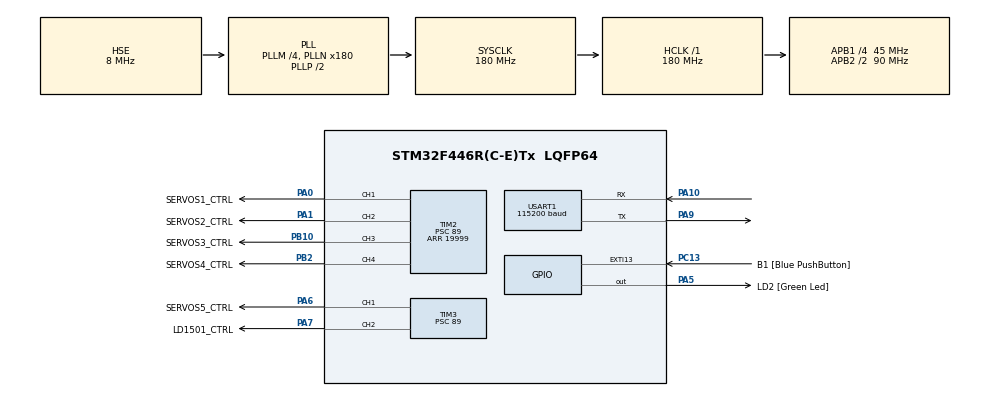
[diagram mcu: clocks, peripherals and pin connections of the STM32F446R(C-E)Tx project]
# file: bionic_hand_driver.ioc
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FREERTOS.BinarySemaphores01=uartRxSemaphore,Dynamic,NULL,Available
FREERTOS.Queues01=servoAnglesQueue,1,ServoAngles_t,0,Dynamic,NULL,NULL
FREERTOS.Tasks01=uartReceiveTask,24,256,StartUartReceiveTask,Default,NULL,Dynamic,NULL,NULL;servoControlTas,40,256,StartServoControlTask,Default,NULL,Dynamic,NULL,NULL
FREERTOS.configUSE_NEWLIB_REENTRANT=1
Mcu.Family=STM32F4
Mcu.Name=STM32F446R(C-E)Tx
Mcu.Package=LQFP64
NVIC.EXTI15_10_IRQn=true\:5\:0\:false\:false\:true\:true\:true\:true\:true
NVIC.PriorityGroup=NVIC_PRIORITYGROUP_4
NVIC.TIM1_UP_TIM10_IRQn=true\:15\:0\:false\:false\:true\:false\:false\:true\:true
NVIC.TimeBase=TIM1_UP_TIM10_IRQn
NVIC.TimeBaseIP=TIM1
NVIC.USART1_IRQn=true\:5\:0\:false\:false\:true\:true\:true\:true\:true
PA0-WKUP.GPIO_Label=SERVOS1_CTRL
PA0-WKUP.Signal=S_TIM2_CH1_ETR
PA1.GPIO_Label=SERVOS2_CTRL
PA1.Signal=S_TIM2_CH2
PA10.Mode=Asynchronous
PA10.Signal=USART1_RX
PA13.GPIO_Label=TMS
PA13.Mode=Trace_Asynchronous_SW
PA13.Signal=SYS_JTMS-SWDIO
PA14.GPIO_Label=TCK
PA14.Mode=Trace_Asynchronous_SW
PA14.Signal=SYS_JTCK-SWCLK
PA2.GPIO_Label=USART_TX
PA2.Signal=USART2_TX
PA3.GPIO_Label=USART_RX
PA3.Signal=USART2_RX
PA5.GPIO_Label=LD2 [Green Led]
PA5.Signal=GPIO_Output
PA6.GPIO_Label=SERVOS5_CTRL
PA6.Signal=S_TIM3_CH1
PA7.GPIO_Label=LD1501_CTRL
PA7.Signal=S_TIM3_CH2
PA9.Mode=Asynchronous
PA9.Signal=USART1_TX
PB10.GPIO_Label=SERVOS3_CTRL
PB10.Signal=S_TIM2_CH3
PB2.GPIO_Label=SERVOS4_CTRL
PB2.Signal=S_TIM2_CH4
PB3.GPIO_Label=SWO
PB3.Mode=Trace_Asynchronous_SW
PB3.Signal=SYS_JTDO-SWO
PC13.GPIO_Label=B1 [Blue PushButton]
PC13.GPIO_ModeDefaultEXTI=GPIO_MODE_IT_FALLING
PC13.Signal=GPXTI13
PC14-OSC32_IN.Mode=LSE-External-Oscillator
PC14-OSC32_IN.Signal=RCC_OSC32_IN
PC15-OSC32_OUT.Mode=LSE-External-Oscillator
PC15-OSC32_OUT.Signal=RCC_OSC32_OUT
PH0-OSC_IN.Mode=HSE-External-Oscillator
PH0-OSC_IN.Signal=RCC_OSC_IN
PH1-OSC_OUT.Mode=HSE-External-Oscillator
PH1-OSC_OUT.Signal=RCC_OSC_OUT
ProjectManager.HeapSize=0x200
ProjectManager.StackSize=0x400
ProjectManager.TargetToolchain=STM32CubeIDE
RCC.48MHZClocksFreq_Value=84000000
RCC.AHBFreq_Value=180000000
RCC.APB1CLKDivider=RCC_HCLK_DIV4
RCC.APB1Freq_Value=45000000
RCC.APB1TimFreq_Value=90000000
RCC.APB2CLKDivider=RCC_HCLK_DIV2
RCC.APB2Freq_Value=90000000
RCC.APB2TimFreq_Value=180000000
RCC.CortexFreq_Value=180000000
RCC.FLatency-AdvancedSettings=FLASH_LATENCY_5
RCC.HCLKFreq_Value=180000000
RCC.HSE_VALUE=8000000
RCC.HSI_VALUE=16000000
RCC.PLLM=4
RCC.PLLN=180
RCC.PLLSourceVirtual=RCC_PLLSOURCE_HSE
RCC.SYSCLKFreq_VALUE=180000000
RCC.SYSCLKSource=RCC_SYSCLKSOURCE_PLLCLK
RCC.USBFreq_Value=180000000
RCC.VCOOutputFreq_Value=360000000
SH.S_TIM2_CH1_ETR.0=TIM2_CH1,PWM Generation1 CH1
SH.S_TIM2_CH2.0=TIM2_CH2,PWM Generation2 CH2
SH.S_TIM2_CH3.0=TIM2_CH3,PWM Generation3 CH3
SH.S_TIM2_CH4.0=TIM2_CH4,PWM Generation4 CH4
SH.S_TIM3_CH1.0=TIM3_CH1,PWM Generation1 CH1
SH.S_TIM3_CH2.0=TIM3_CH2,PWM Generation2 CH2
TIM2.AutoReloadPreload=TIM_AUTORELOAD_PRELOAD_ENABLE
TIM2.Channel-PWM\ Generation1\ CH1=TIM_CHANNEL_1
TIM2.Channel-PWM\ Generation2\ CH2=TIM_CHANNEL_2
TIM2.Channel-PWM\ Generation3\ CH3=TIM_CHANNEL_3
TIM2.Channel-PWM\ Generation4\ CH4=TIM_CHANNEL_4
TIM2.Period=19999
TIM2.Prescaler=89
TIM2.Pulse-PWM\ Generation1\ CH1=1500
TIM2.Pulse-PWM\ Generation2\ CH2=1500
TIM2.Pulse-PWM\ Generation3\ CH3=1500
TIM2.Pulse-PWM\ Generation4\ CH4=1500
TIM3.AutoReloadPreload=TIM_AUTORELOAD_PRELOAD_ENABLE
TIM3.Channel-PWM\ Generation1\ CH1=TIM_CHANNEL_1
TIM3.Channel-PWM\ Generation2\ CH2=TIM_CHANNEL_2
TIM3.Period=19999
TIM3.Prescaler=89
TIM3.Pulse-PWM\ Generation1\ CH1=1500
TIM3.Pulse-PWM\ Generation2\ CH2=1500
USART1.BaudRate=115200
USART1.VirtualMode=VM_ASYNC
VP_FREERTOS_VS_CMSIS_V2.Mode=CMSIS_V2
VP_SYS_VS_tim1.Mode=TIM1
board=NUCLEO-F446RE

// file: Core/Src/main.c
/* USER CODE BEGIN Header */
/**
  ******************************************************************************
  * @file           : main.c
  * @brief          : Main program body
  ******************************************************************************
  * @attention
  *
  * Copyright (c) 2025 STMicroelectronics.
  * All rights reserved.
  *
  * This software is licensed under terms that can be found in the LICENSE file
  * in the root directory of this software component.
  * If no LICENSE file comes with this software, it is provided AS-IS.
  *
  ******************************************************************************
  */
/* USER CODE END Header */
#include "main.h"
#include "cmsis_os.h"

/* USER CODE BEGIN Includes */
#include <stdio.h>
/* USER CODE END Includes */

/* USER CODE BEGIN PD */
#define RX_BUFFER_SIZE 64

/* USER CODE END PD */

TIM_HandleTypeDef htim2;
TIM_HandleTypeDef htim3;

UART_HandleTypeDef huart1;

/* Definitions for uartReceiveTask */
osThreadId_t uartReceiveTaskHandle;
const osThreadAttr_t uartReceiveTask_attributes = {
  .name = "uartReceiveTask",
  .stack_size = 256 * 4,
  .priority = (osPriority_t) osPriorityNormal,
};
/* Definitions for servoControlTas */
osThreadId_t servoControlTasHandle;
const osThreadAttr_t servoControlTas_attributes = {
  .name = "servoControlTas",
  .stack_size = 256 * 4,
  .priority = (osPriority_t) osPriorityHigh,
};
/* Definitions for servoAnglesQueue */
osMessageQueueId_t servoAnglesQueueHandle;
const osMessageQueueAttr_t servoAnglesQueue_attributes = {
  .name = "servoAnglesQueue"
};
/* Definitions for uartRxSemaphore */
osSemaphoreId_t uartRxSemaphoreHandle;
const osSemaphoreAttr_t uartRxSemaphore_attributes = {
  .name = "uartRxSemaphore"
};
/* USER CODE BEGIN PV */
volatile uint8_t motor_enabled = 0;
uint8_t received_byte;
uint8_t rx_buffer[RX_BUFFER_SIZE];
volatile uint8_t data_ready = 0;
/* USER CODE END PV */

void SystemClock_Config(void);
static void MX_GPIO_Init(void);
static void MX_TIM2_Init(void);
static void MX_TIM3_Init(void);
static void MX_USART1_UART_Init(void);
void StartUartReceiveTask(void *argument);
void StartServoControlTask(void *argument);

/* USER CODE BEGIN PFP */
int map_angle_to_pulse(int angle);
/* USER CODE END PFP */

/* USER CODE BEGIN 0 */
int _write(int file, char *ptr, int len)
{
  int DataIdx;
  for (DataIdx = 0; DataIdx < len; DataIdx++)
  {
    ITM_SendChar(*ptr++);
  }
  return len;
}
/* USER CODE END 0 */

int main(void)
{

  /* MCU Configuration--------------------------------------------------------*/

  /* Reset of all peripherals, Initializes the Flash interface and the Systick. */
  HAL_Init();

  /* Configure the system clock */
  SystemClock_Config();

  /* Initialize all configured peripherals */
  MX_GPIO_Init();
  MX_TIM2_Init();
  MX_TIM3_Init();
  MX_USART1_UART_Init();
  /* USER CODE BEGIN 2 */
	printf("Starting polling echo test...\n");
	HAL_UART_Receive_IT(&huart1, &received_byte, 1);
	HAL_TIM_PWM_Start(&htim2, TIM_CHANNEL_1);
	HAL_TIM_PWM_Start(&htim2, TIM_CHANNEL_2);
	HAL_TIM_PWM_Start(&htim2, TIM_CHANNEL_3);
	HAL_TIM_PWM_Start(&htim2, TIM_CHANNEL_4);
	HAL_TIM_PWM_Start(&htim3, TIM_CHANNEL_1);
	HAL_TIM_PWM_Start(&htim3, TIM_CHANNEL_2);
  /* USER CODE END 2 */

  /* Init scheduler */
  osKernelInitialize();

  /* Create the semaphores(s) */
  /* creation of uartRxSemaphore */
  uartRxSemaphoreHandle = osSemaphoreNew(1, 1, &uartRxSemaphore_attributes);

  /* Create the queue(s) */
  /* creation of servoAnglesQueue */
  servoAnglesQueueHandle = osMessageQueueNew (1, sizeof(ServoAngles_t), &servoAnglesQueue_attributes);

  /* Create the thread(s) */
  /* creation of uartReceiveTask */
  uartReceiveTaskHandle = osThreadNew(StartUartReceiveTask, NULL, &uartReceiveTask_attributes);

  /* creation of servoControlTas */
  servoControlTasHandle = osThreadNew(StartServoControlTask, NULL, &servoControlTas_attributes);

  /* Start scheduler */
  osKernelStart();

  /* We should never get here as control is now taken by the scheduler */

  /* Infinite loop */
  /* USER CODE BEGIN WHILE */
  while (1)
  {
	  if (data_ready == 1)
	  {
		  data_ready = 0;

		  int angles[6];
		  int checksum_received;

		  int parse_count = sscanf((char*)rx_buffer, "%d,%d,%d,%d,%d,%d,%d",
								   &angles[0], &angles[1], &angles[2],
								   &angles[3], &angles[4], &angles[5],
								   &checksum_received);

		  if (parse_count == 7)
		  {
			  printf("Set of Angles Received: %d,%d,%d,%d,%d,%d,%d\n", angles[0], angles[1], angles[2], angles[3], angles[4], angles[5], checksum_received);
			  int checksum_calculated = 0;
			  for (int i = 0; i < 6; i++) {
				  checksum_calculated ^= angles[i];
			  }

			  if (checksum_calculated == checksum_received)
			  {
				  printf("OK -> Angles: %d,%d,%d,%d,%d,%d\n", angles[0], angles[1], angles[2], angles[3], angles[4], angles[5]);

				  __HAL_TIM_SET_COMPARE(&htim2, TIM_CHANNEL_1, map_angle_to_pulse(angles[0]));
				  __HAL_TIM_SET_COMPARE(&htim2, TIM_CHANNEL_2, map_angle_to_pulse(angles[1]));
				  __HAL_TIM_SET_COMPARE(&htim2, TIM_CHANNEL_3, map_angle_to_pulse(angles[2]));
				  __HAL_TIM_SET_COMPARE(&htim2, TIM_CHANNEL_4, map_angle_to_pulse(angles[3]));
				  __HAL_TIM_SET_COMPARE(&htim3, TIM_CHANNEL_1, map_angle_to_pulse(angles[4]));
				  __HAL_TIM_SET_COMPARE(&htim3, TIM_CHANNEL_2, map_angle_to_pulse(angles[5]));
			  }
			  else {
				   printf("Error: Checksum mismatch!\n");
			  }
		  }
		  else {
			  printf("Error: Format mismatch! Parsed %d values.\n", parse_count);
		  }
	  }
    /* USER CODE END WHILE */

  }
}

void SystemClock_Config(void)
{
  RCC_OscInitTypeDef RCC_OscInitStruct = {0};
  RCC_ClkInitTypeDef RCC_ClkInitStruct = {0};

  /** Configure the main internal regulator output voltage
  */
  __HAL_RCC_PWR_CLK_ENABLE();
  __HAL_PWR_VOLTAGESCALING_CONFIG(PWR_REGULATOR_VOLTAGE_SCALE1);

  /** Initializes the RCC Oscillators according to the specified parameters
  * in the RCC_OscInitTypeDef structure.
  */
  RCC_OscInitStruct.OscillatorType = RCC_OSCILLATORTYPE_HSE;
  RCC_OscInitStruct.HSEState = RCC_HSE_ON;
  RCC_OscInitStruct.PLL.PLLState = RCC_PLL_ON;
  RCC_OscInitStruct.PLL.PLLSource = RCC_PLLSOURCE_HSE;
  RCC_OscInitStruct.PLL.PLLM = 4;
  RCC_OscInitStruct.PLL.PLLN = 180;
  RCC_OscInitStruct.PLL.PLLP = RCC_PLLP_DIV2;
  RCC_OscInitStruct.PLL.PLLQ = 2;
  RCC_OscInitStruct.PLL.PLLR = 2;
  if (HAL_RCC_OscConfig(&RCC_OscInitStruct) != HAL_OK)
  {
    Error_Handler();
  }

  /** Activate the Over-Drive mode
  */
  if (HAL_PWREx_EnableOverDrive() != HAL_OK)
  {
    Error_Handler();
  }

  /** Initializes the CPU, AHB and APB buses clocks
  */
  RCC_ClkInitStruct.ClockType = RCC_CLOCKTYPE_HCLK|RCC_CLOCKTYPE_SYSCLK
                              |RCC_CLOCKTYPE_PCLK1|RCC_CLOCKTYPE_PCLK2;
  RCC_ClkInitStruct.SYSCLKSource = RCC_SYSCLKSOURCE_PLLCLK;
  RCC_ClkInitStruct.AHBCLKDivider = RCC_SYSCLK_DIV1;
  RCC_ClkInitStruct.APB1CLKDivider = RCC_HCLK_DIV4;
  RCC_ClkInitStruct.APB2CLKDivider = RCC_HCLK_DIV2;

  if (HAL_RCC_ClockConfig(&RCC_ClkInitStruct, FLASH_LATENCY_5) != HAL_OK)
  {
    Error_Handler();
  }
}

static void MX_TIM2_Init(void)
{

  TIM_MasterConfigTypeDef sMasterConfig = {0};
  TIM_OC_InitTypeDef sConfigOC = {0};

  htim2.Instance = TIM2;
  htim2.Init.Prescaler = 89;
  htim2.Init.CounterMode = TIM_COUNTERMODE_UP;
  htim2.Init.Period = 19999;
  htim2.Init.ClockDivision = TIM_CLOCKDIVISION_DIV1;
  htim2.Init.AutoReloadPreload = TIM_AUTORELOAD_PRELOAD_ENABLE;
  if (HAL_TIM_PWM_Init(&htim2) != HAL_OK)
  {
    Error_Handler();
  }
  sMasterConfig.MasterOutputTrigger = TIM_TRGO_RESET;
  sMasterConfig.MasterSlaveMode = TIM_MASTERSLAVEMODE_DISABLE;
  if (HAL_TIMEx_MasterConfigSynchronization(&htim2, &sMasterConfig) != HAL_OK)
  {
    Error_Handler();
  }
  sConfigOC.OCMode = TIM_OCMODE_PWM1;
  sConfigOC.Pulse = 1500;
  sConfigOC.OCPolarity = TIM_OCPOLARITY_HIGH;
  sConfigOC.OCFastMode = TIM_OCFAST_DISABLE;
  if (HAL_TIM_PWM_ConfigChannel(&htim2, &sConfigOC, TIM_CHANNEL_1) != HAL_OK)
  {
    Error_Handler();
  }
  if (HAL_TIM_PWM_ConfigChannel(&htim2, &sConfigOC, TIM_CHANNEL_2) != HAL_OK)
  {
    Error_Handler();
  }
  if (HAL_TIM_PWM_ConfigChannel(&htim2, &sConfigOC, TIM_CHANNEL_3) != HAL_OK)
  {
    Error_Handler();
  }
  if (HAL_TIM_PWM_ConfigChannel(&htim2, &sConfigOC, TIM_CHANNEL_4) != HAL_OK)
  {
    Error_Handler();
  }
  HAL_TIM_MspPostInit(&htim2);

}

static void MX_TIM3_Init(void)
{

  TIM_MasterConfigTypeDef sMasterConfig = {0};
  TIM_OC_InitTypeDef sConfigOC = {0};

  htim3.Instance = TIM3;
  htim3.Init.Prescaler = 89;
  htim3.Init.CounterMode = TIM_COUNTERMODE_UP;
  htim3.Init.Period = 19999;
  htim3.Init.ClockDivision = TIM_CLOCKDIVISION_DIV1;
  htim3.Init.AutoReloadPreload = TIM_AUTORELOAD_PRELOAD_ENABLE;
  if (HAL_TIM_PWM_Init(&htim3) != HAL_OK)
  {
    Error_Handler();
  }
  sMasterConfig.MasterOutputTrigger = TIM_TRGO_RESET;
  sMasterConfig.MasterSlaveMode = TIM_MASTERSLAVEMODE_DISABLE;
  if (HAL_TIMEx_MasterConfigSynchronization(&htim3, &sMasterConfig) != HAL_OK)
  {
    Error_Handler();
  }
  sConfigOC.OCMode = TIM_OCMODE_PWM1;
  sConfigOC.Pulse = 1500;
  sConfigOC.OCPolarity = TIM_OCPOLARITY_HIGH;
  sConfigOC.OCFastMode = TIM_OCFAST_DISABLE;
  if (HAL_TIM_PWM_ConfigChannel(&htim3, &sConfigOC, TIM_CHANNEL_1) != HAL_OK)
  {
    Error_Handler();
  }
  if (HAL_TIM_PWM_ConfigChannel(&htim3, &sConfigOC, TIM_CHANNEL_2) != HAL_OK)
  {
    Error_Handler();
  }
  HAL_TIM_MspPostInit(&htim3);

}

static void MX_USART1_UART_Init(void)
{

  huart1.Instance = USART1;
  huart1.Init.BaudRate = 115200;
  huart1.Init.WordLength = UART_WORDLENGTH_8B;
  huart1.Init.StopBits = UART_STOPBITS_1;
  huart1.Init.Parity = UART_PARITY_NONE;
  huart1.Init.Mode = UART_MODE_TX_RX;
  huart1.Init.HwFlowCtl = UART_HWCONTROL_NONE;
  huart1.Init.OverSampling = UART_OVERSAMPLING_16;
  if (HAL_UART_Init(&huart1) != HAL_OK)
  {
    Error_Handler();
  }

}

static void MX_GPIO_Init(void)
{
  GPIO_InitTypeDef GPIO_InitStruct = {0};

  /* GPIO Ports Clock Enable */
  __HAL_RCC_GPIOC_CLK_ENABLE();
  __HAL_RCC_GPIOH_CLK_ENABLE();
  __HAL_RCC_GPIOA_CLK_ENABLE();
  __HAL_RCC_GPIOB_CLK_ENABLE();

  /*Configure GPIO pin Output Level */
  HAL_GPIO_WritePin(LD2_GPIO_Port, LD2_Pin, GPIO_PIN_RESET);

  /*Configure GPIO pin : B1_Pin */
  GPIO_InitStruct.Pin = B1_Pin;
  GPIO_InitStruct.Mode = GPIO_MODE_IT_FALLING;
  GPIO_InitStruct.Pull = GPIO_NOPULL;
  HAL_GPIO_Init(B1_GPIO_Port, &GPIO_InitStruct);

  /*Configure GPIO pins : USART_TX_Pin USART_RX_Pin */
  GPIO_InitStruct.Pin = USART_TX_Pin|USART_RX_Pin;
  GPIO_InitStruct.Mode = GPIO_MODE_AF_PP;
  GPIO_InitStruct.Pull = GPIO_NOPULL;
  GPIO_InitStruct.Speed = GPIO_SPEED_FREQ_VERY_HIGH;
  GPIO_InitStruct.Alternate = GPIO_AF7_USART2;
  HAL_GPIO_Init(GPIOA, &GPIO_InitStruct);

  /*Configure GPIO pin : LD2_Pin */
  GPIO_InitStruct.Pin = LD2_Pin;
  GPIO_InitStruct.Mode = GPIO_MODE_OUTPUT_PP;
  GPIO_InitStruct.Pull = GPIO_NOPULL;
  GPIO_InitStruct.Speed = GPIO_SPEED_FREQ_LOW;
  HAL_GPIO_Init(LD2_GPIO_Port, &GPIO_InitStruct);

  /* EXTI interrupt init*/
  HAL_NVIC_SetPriority(EXTI15_10_IRQn, 5, 0);
  HAL_NVIC_EnableIRQ(EXTI15_10_IRQn);

}

/* USER CODE BEGIN 4 */

int map_angle_to_pulse(int angle)
{
    if (angle < 0) angle = 0;
    if (angle > 180) angle = 180;
    return 500 + (uint32_t)angle * (2500 - 500) / 180;
}

void HAL_UART_RxCpltCallback(UART_HandleTypeDef *huart)
{
    if (huart->Instance == USART1)
    {
    	static uint8_t is_receiving = 0;
    	static uint16_t rx_idx = 0;

		if (received_byte == '<' && is_receiving == 0)
		{

			rx_idx = 0;
			is_receiving = 1;
		}
		else if (is_receiving == 1)
		{
			if (received_byte == '>')
			{
				is_receiving = 0;
				data_ready = 1;
				rx_buffer[rx_idx] = '\0';

				osSemaphoreRelease(uartRxSemaphoreHandle);
			}
			else
			{
				if (rx_idx < RX_BUFFER_SIZE - 1)
				{
					rx_buffer[rx_idx++] = received_byte;
				}
				else
				{
					is_receiving = 0;
				}
			}
		}
		HAL_UART_Receive_IT(huart, &received_byte, 1);
    }
}
/* USER CODE END 4 */

void StartUartReceiveTask(void *argument)
{
  /* USER CODE BEGIN 5 */
  /* Infinite loop */
	  ServoAngles_t servo_cmd;

	  for(;;)
	  {
	    if (osSemaphoreAcquire(uartRxSemaphoreHandle, osWaitForever) == osOK)
	    {
	        int checksum_received;

	        int parse_count = sscanf((char*)rx_buffer, "%d,%d,%d,%d,%d,%d,%d",
	                                 &servo_cmd.angles[0], &servo_cmd.angles[1], &servo_cmd.angles[2],
	                                 &servo_cmd.angles[3], &servo_cmd.angles[4], &servo_cmd.angles[5],
	                                 &checksum_received);

	        if (parse_count == 7) {
	            int checksum_calculated = 0;
	            for (int i = 0; i < 6; i++) {
	                checksum_calculated ^= servo_cmd.angles[i];
	            }

	            if (checksum_calculated == checksum_received) {
	                osMessageQueuePut(servoAnglesQueueHandle, &servo_cmd, 0U, 0U);
	            } else {
	                printf("Error: Checksum mismatch!\n");
	            }
	        } else {
	            printf("Error: Format mismatch! Parsed %d values.\n", parse_count);
	        }
	    }
	  }
  /* USER CODE END 5 */
}

void StartServoControlTask(void *argument)
{
  /* USER CODE BEGIN StartServoControlTask */
  /* Infinite loop */
  ServoAngles_t received_cmd;
  for(;;)
  {
	  if (osMessageQueueGet(servoAnglesQueueHandle, &received_cmd, NULL, osWaitForever) == osOK)
	      {
	          __HAL_TIM_SET_COMPARE(&htim2, TIM_CHANNEL_1, map_angle_to_pulse(received_cmd.angles[0]));
	          __HAL_TIM_SET_COMPARE(&htim2, TIM_CHANNEL_2, map_angle_to_pulse(received_cmd.angles[1]));
	          __HAL_TIM_SET_COMPARE(&htim2, TIM_CHANNEL_3, map_angle_to_pulse(received_cmd.angles[2]));
	          __HAL_TIM_SET_COMPARE(&htim2, TIM_CHANNEL_4, map_angle_to_pulse(received_cmd.angles[3]));
	          __HAL_TIM_SET_COMPARE(&htim3, TIM_CHANNEL_1, map_angle_to_pulse(received_cmd.angles[4]));
	          __HAL_TIM_SET_COMPARE(&htim3, TIM_CHANNEL_2, map_angle_to_pulse(received_cmd.angles[5]));

	          printf("Servos updated to: %d,%d,%d,%d,%d,%d\n", received_cmd.angles[0],
	                 received_cmd.angles[1], received_cmd.angles[2], received_cmd.angles[3],
	                 received_cmd.angles[4], received_cmd.angles[5]);
	      }
  }
  /* USER CODE END StartServoControlTask */
}

void HAL_TIM_PeriodElapsedCallback(TIM_HandleTypeDef *htim)
{
  if (htim->Instance == TIM1)
  {
    HAL_IncTick();
  }
}

void Error_Handler(void)
{
  __disable_irq();
  while (1)
  {
  }
}
